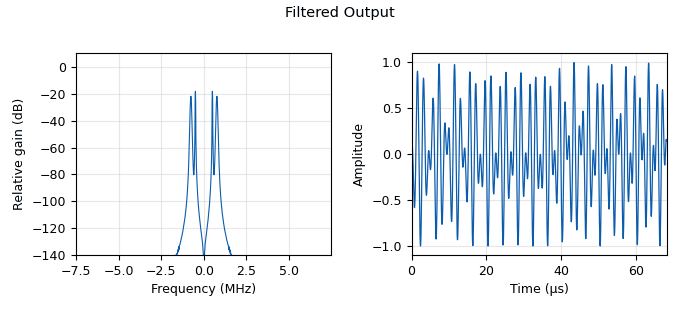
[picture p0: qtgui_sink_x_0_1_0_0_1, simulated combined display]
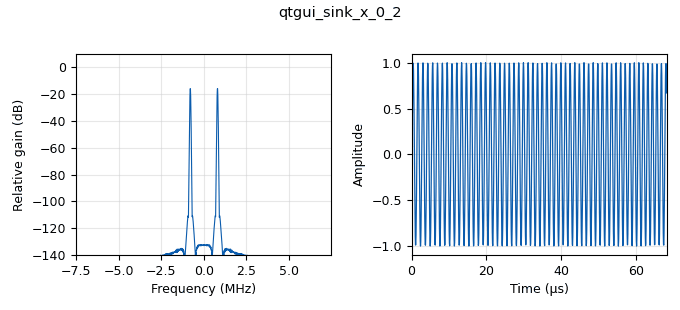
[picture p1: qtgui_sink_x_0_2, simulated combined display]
options:
  parameters:
    generate_options: qt_gui
    id: fmcw_sim
    output_language: python
    title: Not titled yet
  states: {}

blocks:
- name: chirp_freq
  id: variable_qtgui_range
  parameters:
    start: '0'
    step: '1'
    stop: '1000'
    value: '1000'
  states: {}
- name: delay_coeff
  id: variable_qtgui_range
  parameters:
    start: '0'
    step: '0.01'
    stop: '0.5'
    value: '0.5'
  states: {}
- name: samp_rate
  id: variable
  parameters:
    value: '15000000'
  states: {}
- name: analog_sig_source_x_0_0
  id: analog_sig_source_x
  parameters:
    amp: '1'
    freq: chirp_freq
    offset: '0'
    phase: '0'
    samp_rate: samp_rate
    type: float
    waveform: analog.GR_SAW_WAVE
  states: {}
- name: blocks_complex_to_real_0
  id: blocks_complex_to_real
  parameters: {}
  states: {state: disabled}
- name: blocks_delay_0
  id: blocks_delay
  parameters:
    delay: int(delay_coeff*(samp_rate/chirp_freq))
    type: float
  states: {}
- name: blocks_file_sink_0
  id: blocks_file_sink
  parameters:
    file: beat_fmcw_test.dat
    type: float
  states: {}
- name: blocks_head_0
  id: blocks_head
  parameters:
    num_items: int((1-delay_coeff)*(samp_rate/chirp_freq))
    type: float
  states: {state: disabled}
- name: blocks_head_0_0
  id: blocks_head
  parameters:
    num_items: '100000000'
    type: float
  states: {}
- name: blocks_multiply_xx_0
  id: blocks_multiply_xx
  parameters:
    type: float
  states: {}
- name: blocks_skiphead_0
  id: blocks_skiphead
  parameters:
    num_items: int(delay_coeff*(samp_rate/chirp_freq))
    type: float
  states: {state: disabled}
- name: blocks_skiphead_0_0
  id: blocks_skiphead
  parameters:
    num_items: '2000000'
    type: float
  states: {}
- name: blocks_stream_to_vector_0
  id: blocks_stream_to_vector
  parameters:
    num_items: '1024'
    type: float
  states: {state: disabled}
- name: blocks_vco_f_0_0
  id: blocks_vco_f
  parameters:
    amplitude: '1'
    samp_rate: samp_rate
    sensitivity: '6280000'
  states: {}
- name: blocks_vector_to_stream_0
  id: blocks_vector_to_stream
  parameters:
    num_items: '1024'
    type: complex
  states: {state: disabled}
- name: fft_vxx_0
  id: fft_vxx
  parameters:
    fft_size: '1024'
    forward: 'True'
    shift: 'True'
    type: float
    window: window.blackmanharris(1024)
  states: {state: disabled}
- name: hilbert_fc_0
  id: hilbert_fc
  parameters:
    num_taps: '65'
  states: {state: disabled}
- name: low_pass_filter_0
  id: low_pass_filter
  parameters:
    cutoff_freq: '500000'
    decim: '1'
    gain: '1'
    samp_rate: samp_rate
    type: fir_filter_fff
    width: '50000'
    win: window.WIN_BLACKMAN
  states: {state: disabled}
- name: note_0
  id: note
  parameters: {}
  states: {}
- name: note_1
  id: note
  parameters:
    note: need to fix param dependancy on chip freq
  states: {}
- name: qtgui_sink_x_0_1_0_0_0
  id: qtgui_sink_x
  parameters:
    bw: samp_rate
    fc: '0'
    fftsize: '1024'
    name: '"Filtered Output"'
    rate: '1000'
    type: float
  states: {state: disabled}
- name: qtgui_sink_x_0_1_0_0_1
  id: qtgui_sink_x
  parameters:
    bw: samp_rate
    fc: '0'
    fftsize: '1024'
    name: '"Filtered Output"'
    rate: '10000'
    type: float
    wintype: window.WIN_HANN
  states: {}
- name: qtgui_sink_x_0_2
  id: qtgui_sink_x
  parameters:
    bw: samp_rate
    fc: '0'
    fftsize: '1024'
    rate: '10000'
    type: float
  states: {}

connections:
- [analog_sig_source_x_0_0, '0', blocks_vco_f_0_0, '0']
- [blocks_complex_to_real_0, '0', blocks_delay_0, '0']
- [blocks_delay_0, '0', blocks_multiply_xx_0, '0']
- [blocks_head_0, '0', qtgui_sink_x_0_1_0_0_0, '0']
- [blocks_head_0_0, '0', blocks_file_sink_0, '0']
- [blocks_head_0_0, '0', qtgui_sink_x_0_1_0_0_1, '0']
- [blocks_multiply_xx_0, '0', blocks_skiphead_0, '0']
- [blocks_multiply_xx_0, '0', blocks_skiphead_0_0, '0']
- [blocks_skiphead_0, '0', blocks_head_0, '0']
- [blocks_skiphead_0_0, '0', blocks_head_0_0, '0']
- [blocks_stream_to_vector_0, '0', fft_vxx_0, '0']
- [blocks_vco_f_0_0, '0', blocks_delay_0, '0']
- [blocks_vco_f_0_0, '0', blocks_multiply_xx_0, '1']
- [blocks_vco_f_0_0, '0', hilbert_fc_0, '0']
- [blocks_vco_f_0_0, '0', qtgui_sink_x_0_2, '0']
- [fft_vxx_0, '0', blocks_vector_to_stream_0, '0']
- [hilbert_fc_0, '0', blocks_complex_to_real_0, '0']
- [low_pass_filter_0, '0', blocks_file_sink_0, '0']
- [low_pass_filter_0, '0', blocks_stream_to_vector_0, '0']
- [low_pass_filter_0, '0', qtgui_sink_x_0_1_0_0_1, '0']

metadata:
  file_format: 1
  grc_version: 3.9.8.0-rc1
